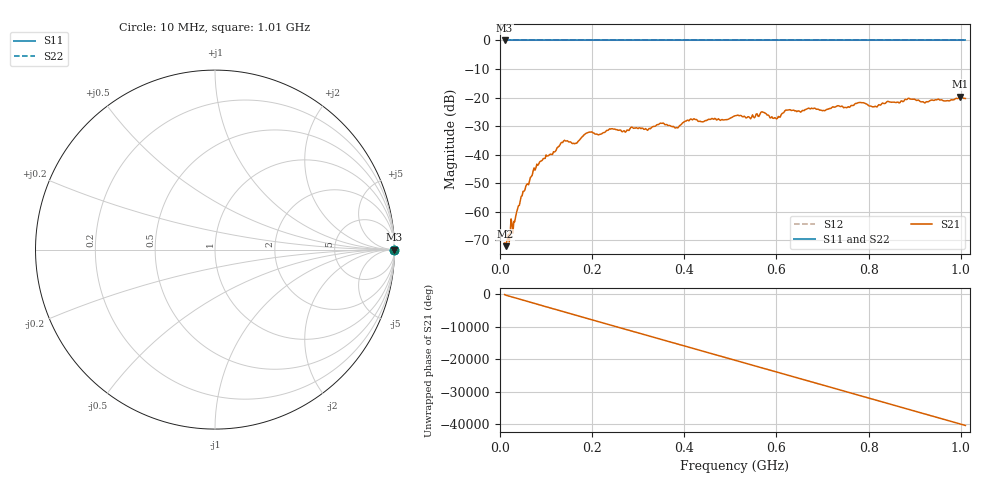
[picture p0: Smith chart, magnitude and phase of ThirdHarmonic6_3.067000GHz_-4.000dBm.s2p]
! 8/17/2025 8:57:10 AM
! C:\ANRITSUVNA\TEMP\TEMP.S2P
! CHANNEL.1
! TR.MEASUREMENT
! RAW.DATA
! RF.CORRECTION.OFF
! AVERAGING.OFF
! IF.BANDWIDTH: 5KHZ
! SWEEPTYPE:  FREQ.SWEEP(Linear)
! Reference Plane Port Info
! PORT:  PORT1  PORT2
! DISTANCE:  0  m  0  m
! TIME:  0  s  0  s
! PHASE.OFFSET:  0  deg.  0  deg.
! LOSS:  0  dB  0  dB
! REF.LOSS:  0  dB  0  dB
! REF.FREQ:  0  Hz  0  Hz
! Power Info
! POWER:  -20  dBm  -20  dBm
! EFF.POWER:  -20  dBm  -20  dBm
! SOURCE.ATTEN:  0  dB  0  dB
! TEST.ATTEN:  0  dB  0  dB
# GHZ S RI R 50.0
! FREQ.GHZ  S11RE  S11IM  S21RE  S21IM  S12RE  S12IM  S22RE  S22IM
!; PortSelection: Port_12
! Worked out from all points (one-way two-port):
!   501 points, 10 MHz to 1.01 GHz, reference 50 ohm
!   highest |S21| = -19.65 dB at 998 MHz (marker M1); lowest = -72.1 dB at 12 MHz (marker M2)
!   lowest |S11| = 0.0 dB at 10 MHz (marker M3)
!   |S11| at or under -10 dB: nowhere
!   |S22| runs from 0.0 to 0.0 dB; largest |S21 - S12| = 1.1
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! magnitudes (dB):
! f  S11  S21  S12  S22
! 10 MHz  0.0  -71.0  0.0  0.0
! 12 MHz  0.0  -72.1  0.0  0.0
! 32 MHz  0.0  -63.5  0.0  0.0
! 48 MHz  0.0  -54.4  0.0  0.0
! 76 MHz  0.0  -45.4  0.0  0.0
! 136 MHz  0.0  -35.8  0.0  0.0
! 162 MHz  0.0  -36.2  0.0  0.0
! 178 MHz  0.0  -33.8  0.0  0.0
! 194 MHz  0.0  -32.1  0.0  0.0
! 344 MHz  0.0  -29.5  0.0  0.0
! 384 MHz  0.0  -30.5  0.0  0.0
! 416 MHz  0.0  -27.7  0.0  0.0
! 510 MHz  0.0  -26.4  0.0  0.0
! 570 MHz  0.0  -25.1  0.0  0.0
! 598 MHz  0.0  -27.2  0.0  0.0
! 622 MHz  0.0  -24.4  0.0  0.0
! 678 MHz  0.0  -23.9  0.0  0.0
! 782 MHz  0.0  -21.7  0.0  0.0
! 814 MHz  0.0  -23.0  0.0  0.0
! 844 MHz  0.0  -21.5  0.0  0.0
! 998 MHz  0.0  -19.6  0.0  0.0
! 1.01 GHz  0.0  -20.3  0.0  0.0
